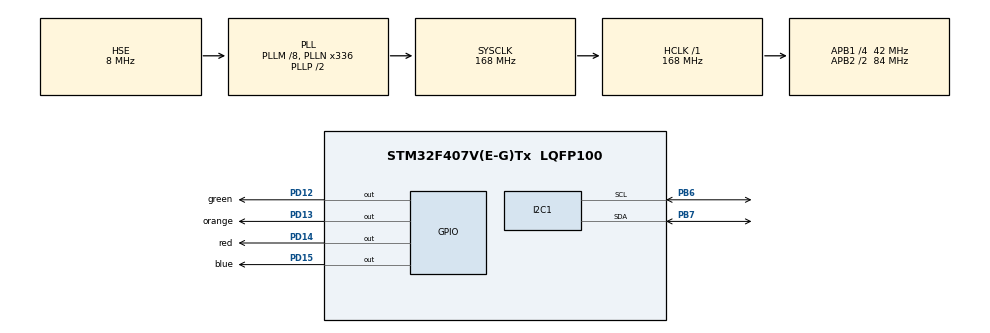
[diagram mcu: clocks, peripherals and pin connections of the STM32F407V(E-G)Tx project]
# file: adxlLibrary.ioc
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I2C1.I2C_Mode=I2C_Fast
Mcu.Family=STM32F4
Mcu.Name=STM32F407V(E-G)Tx
Mcu.Package=LQFP100
NVIC.PriorityGroup=NVIC_PRIORITYGROUP_0
PA13.Mode=Serial_Wire
PA13.Signal=SYS_JTMS-SWDIO
PA14.Mode=Serial_Wire
PA14.Signal=SYS_JTCK-SWCLK
PB6.Mode=I2C
PB6.Signal=I2C1_SCL
PB7.Mode=I2C
PB7.Signal=I2C1_SDA
PD12.GPIO_Label=green
PD12.GPIO_Speed=GPIO_SPEED_FREQ_MEDIUM
PD12.Signal=GPIO_Output
PD13.GPIO_Label=orange
PD13.GPIO_Speed=GPIO_SPEED_FREQ_MEDIUM
PD13.Signal=GPIO_Output
PD14.GPIO_Label=red
PD14.GPIO_Speed=GPIO_SPEED_FREQ_MEDIUM
PD14.Signal=GPIO_Output
PD15.GPIO_Label=blue
PD15.GPIO_Speed=GPIO_SPEED_FREQ_MEDIUM
PD15.Signal=GPIO_Output
PH0-OSC_IN.Mode=HSE-External-Oscillator
PH0-OSC_IN.Signal=RCC_OSC_IN
PH1-OSC_OUT.Mode=HSE-External-Oscillator
PH1-OSC_OUT.Signal=RCC_OSC_OUT
ProjectManager.HeapSize=0x200
ProjectManager.StackSize=0x400
ProjectManager.TargetToolchain=MDK-ARM V5.32
RCC.48MHZClocksFreq_Value=48000000
RCC.AHBFreq_Value=168000000
RCC.APB1CLKDivider=RCC_HCLK_DIV4
RCC.APB1Freq_Value=42000000
RCC.APB1TimFreq_Value=84000000
RCC.APB2CLKDivider=RCC_HCLK_DIV2
RCC.APB2Freq_Value=84000000
RCC.APB2TimFreq_Value=168000000
RCC.CortexFreq_Value=168000000
RCC.HCLKFreq_Value=168000000
RCC.HSE_VALUE=8000000
RCC.HSI_VALUE=16000000
RCC.LSE_VALUE=32768
RCC.PLLM=8
RCC.PLLN=336
RCC.PLLQ=7
RCC.PLLSourceVirtual=RCC_PLLSOURCE_HSE
RCC.SYSCLKFreq_VALUE=168000000
RCC.SYSCLKSource=RCC_SYSCLKSOURCE_PLLCLK
RCC.VCOOutputFreq_Value=336000000
board=STM32F407G-DISC1

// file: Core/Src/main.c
/* USER CODE BEGIN Header */
/**
  ******************************************************************************
  * @file           : main.c
  * @brief          : Main program body
  ******************************************************************************
  * @attention
  *
  * Copyright (c) 2024 STMicroelectronics.
  * All rights reserved.
  *
  * This software is licensed under terms that can be found in the LICENSE file
  * in the root directory of this software component.
  * If no LICENSE file comes with this software, it is provided AS-IS.
  *
  ******************************************************************************
  */
/* USER CODE END Header */
#include "main.h"

/* USER CODE BEGIN Includes */

#include "C:\Users\User\Desktop\project\adxlLibrary\MDK-ARM\adxl345.h"

/* USER CODE END Includes */

I2C_HandleTypeDef hi2c1;

/* USER CODE BEGIN PV */

//int deviceAddress = 0;

ADXL345InitStatus result;

int16_t xValue = 0;
int16_t yValue = 0;
int16_t zValue = 0;

float gX = 0;
float gY = 0;
float gZ = 0;

/* USER CODE END PV */

void SystemClock_Config(void);
static void MX_GPIO_Init(void);
static void MX_I2C1_Init(void);

int main(void)
{

  /* MCU Configuration--------------------------------------------------------*/

  /* Reset of all peripherals, Initializes the Flash interface and the Systick. */
  HAL_Init();

  /* Configure the system clock */
  SystemClock_Config();

  /* Initialize all configured peripherals */
  MX_GPIO_Init();
  MX_I2C1_Init();
  /* USER CODE BEGIN 2 */

	//deviceAddress = ADXL345_ScanDeviceID();
	//ADXL345_Init();

	 result = ADXL345_Init(&hi2c1);

  /* USER CODE END 2 */

  /* Infinite loop */
  while (1)
  {

    /* USER CODE BEGIN 3 */
		//HAL_GPIO_WritePin(GPIOD, green_Pin|orange_Pin|red_Pin|blue_Pin, GPIO_PIN_SET);

		xValue = ADXL345_getAxisValue(&hi2c1, X);
	  yValue = ADXL345_getAxisValue(&hi2c1, Y);
	  zValue = ADXL345_getAxisValue(&hi2c1, Z);

	  gX = ADXL345_getGValue(&hi2c1, X, SCALE_FACTOR_4G);
	  gY = ADXL345_getGValue(&hi2c1, Y, SCALE_FACTOR_4G);
	  gZ = ADXL345_getGValue(&hi2c1, Z, SCALE_FACTOR_4G);
	  HAL_GPIO_WritePin(GPIOD, green_Pin | red_Pin | orange_Pin | blue_Pin, GPIO_PIN_SET);
	  HAL_Delay(20);
  }
  /* USER CODE END 3 */
}

void SystemClock_Config(void)
{
  RCC_OscInitTypeDef RCC_OscInitStruct = {0};
  RCC_ClkInitTypeDef RCC_ClkInitStruct = {0};

  /** Configure the main internal regulator output voltage
  */
  __HAL_RCC_PWR_CLK_ENABLE();
  __HAL_PWR_VOLTAGESCALING_CONFIG(PWR_REGULATOR_VOLTAGE_SCALE1);

  /** Initializes the RCC Oscillators according to the specified parameters
  * in the RCC_OscInitTypeDef structure.
  */
  RCC_OscInitStruct.OscillatorType = RCC_OSCILLATORTYPE_HSE;
  RCC_OscInitStruct.HSEState = RCC_HSE_ON;
  RCC_OscInitStruct.PLL.PLLState = RCC_PLL_ON;
  RCC_OscInitStruct.PLL.PLLSource = RCC_PLLSOURCE_HSE;
  RCC_OscInitStruct.PLL.PLLM = 8;
  RCC_OscInitStruct.PLL.PLLN = 336;
  RCC_OscInitStruct.PLL.PLLP = RCC_PLLP_DIV2;
  RCC_OscInitStruct.PLL.PLLQ = 7;
  if (HAL_RCC_OscConfig(&RCC_OscInitStruct) != HAL_OK)
  {
    Error_Handler();
  }

  /** Initializes the CPU, AHB and APB buses clocks
  */
  RCC_ClkInitStruct.ClockType = RCC_CLOCKTYPE_HCLK|RCC_CLOCKTYPE_SYSCLK
                              |RCC_CLOCKTYPE_PCLK1|RCC_CLOCKTYPE_PCLK2;
  RCC_ClkInitStruct.SYSCLKSource = RCC_SYSCLKSOURCE_PLLCLK;
  RCC_ClkInitStruct.AHBCLKDivider = RCC_SYSCLK_DIV1;
  RCC_ClkInitStruct.APB1CLKDivider = RCC_HCLK_DIV4;
  RCC_ClkInitStruct.APB2CLKDivider = RCC_HCLK_DIV2;

  if (HAL_RCC_ClockConfig(&RCC_ClkInitStruct, FLASH_LATENCY_5) != HAL_OK)
  {
    Error_Handler();
  }
}

static void MX_I2C1_Init(void)
{

  hi2c1.Instance = I2C1;
  hi2c1.Init.ClockSpeed = 400000;
  hi2c1.Init.DutyCycle = I2C_DUTYCYCLE_2;
  hi2c1.Init.OwnAddress1 = 0;
  hi2c1.Init.AddressingMode = I2C_ADDRESSINGMODE_7BIT;
  hi2c1.Init.DualAddressMode = I2C_DUALADDRESS_DISABLE;
  hi2c1.Init.OwnAddress2 = 0;
  hi2c1.Init.GeneralCallMode = I2C_GENERALCALL_DISABLE;
  hi2c1.Init.NoStretchMode = I2C_NOSTRETCH_DISABLE;
  if (HAL_I2C_Init(&hi2c1) != HAL_OK)
  {
    Error_Handler();
  }

}

static void MX_GPIO_Init(void)
{
  GPIO_InitTypeDef GPIO_InitStruct = {0};

  /* GPIO Ports Clock Enable */
  __HAL_RCC_GPIOH_CLK_ENABLE();
  __HAL_RCC_GPIOD_CLK_ENABLE();
  __HAL_RCC_GPIOA_CLK_ENABLE();
  __HAL_RCC_GPIOB_CLK_ENABLE();

  /*Configure GPIO pin Output Level */
  HAL_GPIO_WritePin(GPIOD, green_Pin|orange_Pin|red_Pin|blue_Pin, GPIO_PIN_RESET);

  /*Configure GPIO pins : green_Pin orange_Pin red_Pin blue_Pin */
  GPIO_InitStruct.Pin = green_Pin|orange_Pin|red_Pin|blue_Pin;
  GPIO_InitStruct.Mode = GPIO_MODE_OUTPUT_PP;
  GPIO_InitStruct.Pull = GPIO_NOPULL;
  GPIO_InitStruct.Speed = GPIO_SPEED_FREQ_MEDIUM;
  HAL_GPIO_Init(GPIOD, &GPIO_InitStruct);

}

void Error_Handler(void)
{
  __disable_irq();
  while (1)
  {
  }
}
